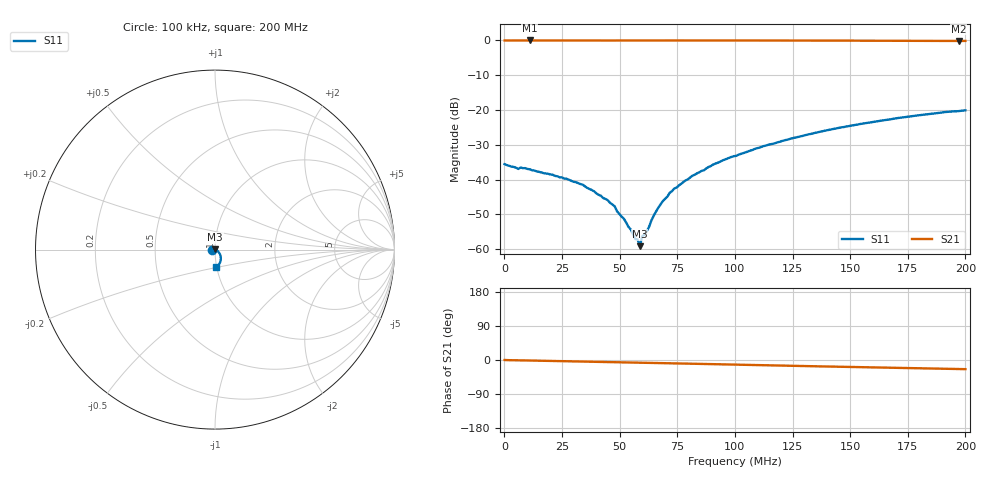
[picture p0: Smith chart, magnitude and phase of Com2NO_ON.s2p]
# HZ S RI R 50
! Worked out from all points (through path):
!   202 points, 100 kHz to 200 MHz, reference 50 ohm
!   highest |S21| = 0.00 dB at 11.04 MHz (marker M1); lowest = -0.1 dB at 197 MHz (marker M2)
!   group delay of S21, straight-line fit = 339 ps
!   lowest |S11| = -59.1 dB at 58.78 MHz (marker M3), VSWR 1.00, Z = 50.1 + j0.0896 ohm
!   |S11| at or under -10 dB: start of sweep to end of sweep
!   S12 and S22 are empty: the file has one direction only
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100000  -0.0167 -0.000227  0.9995 -0.000356  0 0  0 0
6067162  -0.0141 0.00205  0.9987 -0.0162  0 0  0 0
7061689  -0.0148 0.00219  0.9997 -0.0154  0 0  0 0
1.10398e7  -0.0138 0.0029  0.9999 -0.024  0 0  0 0
3.391392e7  -0.00777 0.00337  0.997 -0.0716  0 0  0 0
4.78373e7  -0.00331 0.00247  0.9941 -0.1008  0 0  0 0
5.479898e7  -0.000591 0.00184  0.9921 -0.1149  0 0  0 0
5.678804e7  0.000141 0.00139  0.9917 -0.1193  0 0  0 0
5.778257e7  0.000522 0.00128  0.9912 -0.1212  0 0  0 0
5.877709e7  0.000647 0.000894  0.9907 -0.1234  0 0  0 0
5.977162e7  0.00113 0.00102  0.9911 -0.1255  0 0  0 0
6.176067e7  0.00177 0.000335  0.9905 -0.1294  0 0  0 0
6.673331e7  0.00389 -0.000494  0.9888 -0.1396  0 0  0 0
7.3695e7  0.00715 -0.00208  0.9877 -0.1549  0 0  0 0
8.165121e7  0.0106 -0.00418  0.9844 -0.1712  0 0  0 0
9.060196e7  0.0147 -0.00737  0.9813 -0.1903  0 0  0 0
1.005472e8  0.0187 -0.0115  0.9767 -0.2119  0 0  0 0
1.124816e8  0.024 -0.0185  0.9699 -0.2371  0 0  0 0
1.333666e8  0.0307 -0.0338  0.9563 -0.2811  0 0  0 0
1.671805e8  0.0295 -0.067  0.9272 -0.3468  0 0  0 0
1.970163e8  0.00902 -0.0959  0.8995 -0.3973  0 0  0 0
1.999999e8  0.00597 -0.0988  0.8977 -0.4027  0 0  0 0
